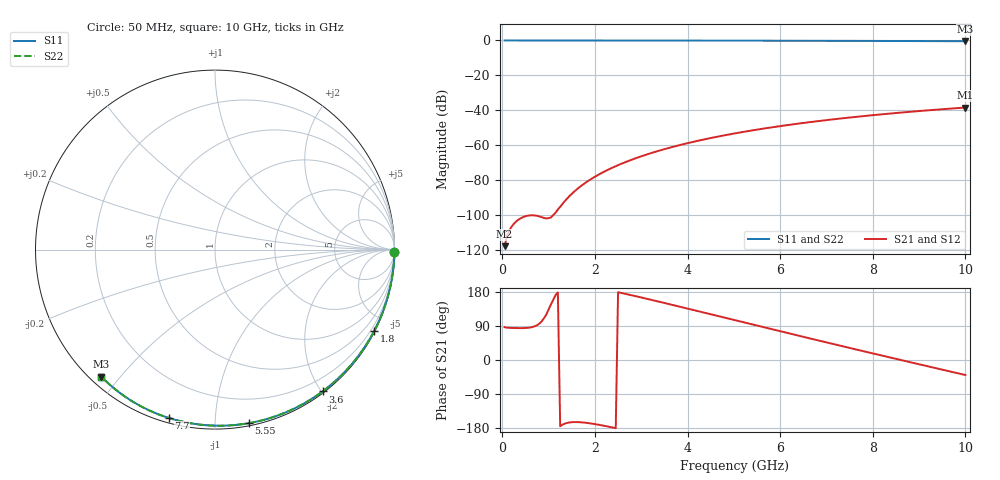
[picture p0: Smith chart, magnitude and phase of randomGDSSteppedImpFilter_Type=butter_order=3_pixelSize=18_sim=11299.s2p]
! freq	dB(S11)	phase(S11)	dB(S12)	phase(S12)
!  dB(S21)	phase(S21)	dB(S22)	phase(S22)
!S-par simulation data
#  GHz  S  DB  R 50
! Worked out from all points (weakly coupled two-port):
!   200 points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, 50 MHz to 10 GHz, reference 50 ohm
!   highest |S21| = -38.40 dB at 10 GHz (marker M1); lowest = -117.7 dB at 50 MHz (marker M2)
!   lowest |S11| = -0.4 dB at 10 GHz (marker M3), VSWR 38.99, Z = 1.54 - j22.3 ohm
!   |S11| at or under -10 dB: nowhere
!   |S22| runs from -0.4 to 0.0 dB; largest |S21 - S12| = 0
!   S11 on the Smith chart (normalised r, x): 50 MHz: open; 1.8 GHz: 0.04, -4.16; 3.6 GHz: 0.02, -2.01; 5.55 GHz: 0.02, -1.22; 7.7 GHz: 0.02, -0.76; 10 GHz: 0.03, -0.45
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0.05  -0.00 -0.8  -117.73 86.7  -117.73 86.7  -0.00 -0.8
0.9  -0.02 -13.6  -101.57 110.2  -101.57 110.2  -0.02 -13.6
1.75  -0.03 -26.3  -82.30 -164.9  -82.30 -164.9  -0.03 -26.3
1.8  -0.03 -27.0  -81.36 -165.6  -81.36 -165.6  -0.03 -27.0
1.85  -0.04 -27.7  -80.46 -166.4  -80.46 -166.4  -0.04 -27.7
1.9  -0.04 -28.5  -79.61 -167.2  -79.61 -167.2  -0.04 -28.5
2.05  -0.04 -30.7  -77.22 -170.2  -77.22 -170.2  -0.04 -30.7
2.25  -0.04 -33.6  -74.42 -174.8  -74.42 -174.8  -0.04 -33.6
2.45  -0.05 -36.5  -71.94 -179.8  -71.94 -179.8  -0.05 -36.5
2.65  -0.05 -39.4  -69.71 174.8  -69.71 174.8  -0.05 -39.4
3  -0.06 -44.4  -66.30 165.0  -66.30 165.0  -0.06 -44.4
3.4  -0.07 -50.0  -62.97 153.5  -62.97 153.5  -0.07 -50.0
3.6  -0.07 -52.8  -61.48 147.6  -61.48 147.6  -0.07 -52.8
4.3  -0.09 -62.4  -56.97 126.7  -56.97 126.7  -0.09 -62.4
5.05  -0.11 -72.4  -53.04 104.3  -53.04 104.3  -0.11 -72.4
5.55  -0.13 -78.9  -50.81 89.3  -50.81 89.3  -0.13 -78.9
6.1  -0.15 -85.9  -48.64 73.0  -48.64 73.0  -0.15 -85.9
6.7  -0.18 -93.3  -46.54 55.2  -46.54 55.2  -0.18 -93.3
7.7  -0.24 -105.3  -43.56 26.0  -43.56 26.0  -0.24 -105.3
8.35  -0.29 -113.0  -41.89 7.3  -41.89 7.3  -0.29 -113.0
9.15  -0.36 -122.2  -40.08 -15.5  -40.08 -15.5  -0.36 -122.2
10  -0.45 -131.8  -38.40 -39.6  -38.40 -39.6  -0.45 -131.8
